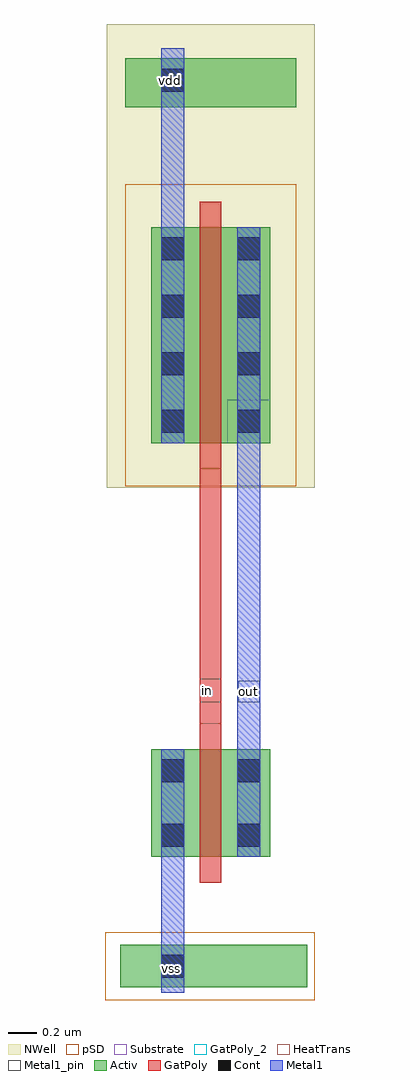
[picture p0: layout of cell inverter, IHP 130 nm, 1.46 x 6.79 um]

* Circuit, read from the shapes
.subckt inverter in out vdd vss
XM1 out in vss vss sg13_lv_nmos w=0.75u l=0.15u
XM2 out in vdd vdd sg13_lv_pmos w=1.5u l=0.15u
.ends

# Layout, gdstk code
import gdstk
lib = gdstk.Library(unit=1e-6, precision=5e-09)
def R(c, l, rs):  # rectangles x0, y0, x1, y1
    for r in rs: c.add(gdstk.rectangle(r[:2], r[2:], *l))
def A(c, l, x, y, w, h, nx, ny, dx, dy):  # array of equal rectangles
    R(c, l, [(x+i*dx, y+j*dy, x+i*dx+w, y+j*dy+h) for i in range(nx) for j in range(ny)])
Activ = (1, 0)
GatPoly = (5, 0)
GatPoly_2 = (5, 2)
Cont = (6, 0)
Metal1 = (8, 0)
Metal1_pin = (8, 2)
pSD = (14, 0)
NWell = (31, 0)
Substrate = (40, 0)
HeatTrans = (51, 0)

nmos = lib.new_cell('nmos')
R(nmos, Activ, [(0,0,0.3,0.3), (0,0,0.83,0.75), (0.53,0,0.83,0.3)])
R(nmos, GatPoly, [(0.34,-0.18,0.49,0.93)])
R(nmos, GatPoly_2, [(0.34,-0.18,0.49,0.93)])
R(nmos, Cont, [(0.07,0.07,0.23,0.23), (0.6,0.07,0.76,0.23), (0.07,0.52,0.23,0.68), (0.6,0.52,0.76,0.68)])
R(nmos, Metal1, [(0.07,0,0.23,0.75), (0.6,0,0.76,0.75)])
R(nmos, Metal1_pin, [(0.07,0,0.23,0.75), (0.6,0,0.76,0.75)])
R(nmos, HeatTrans, [(0.34,-0.18,0.49,0.93)])
nmos.add(gdstk.Label('nmos', (0.415,0.375), layer=63, texttype=0))
nmos.add(gdstk.Label('nmos', (0.415,0.375), layer=51, texttype=0))

pmos_1 = lib.new_cell('pmos$1')
R(pmos_1, Activ, [(0,0,0.3,0.3), (0,0,0.83,1.5), (0.53,0,0.83,0.3)])
R(pmos_1, GatPoly, [(0.34,-0.18,0.49,1.68), (0.34,-0.18,0.49,1.68)])
A(pmos_1, Cont, 0.07, 0.07, 0.16, 0.16, 1, 4, 0, 0.4)
A(pmos_1, Cont, 0.6, 0.07, 0.16, 0.16, 1, 4, 0, 0.4)
R(pmos_1, Metal1, [(0.07,0,0.23,1.5), (0.07,0,0.23,1.5), (0.6,0,0.76,1.5), (0.6,0,0.76,1.5)])
R(pmos_1, pSD, [(-0.18,-0.3,1.01,1.8)])
R(pmos_1, NWell, [(-0.31,-0.31,1.14,1.81)])
R(pmos_1, Substrate, [(0.53,0,0.83,0.3)])
R(pmos_1, HeatTrans, [(0.34,-0.18,0.49,1.68)])
pmos_1.add(gdstk.Label('pmos', (0.415,0.75), layer=63, texttype=0))
pmos_1.add(gdstk.Label('pmos', (0.415,0.75), layer=51, texttype=0))

inverter = lib.new_cell('inverter')
R(inverter, Activ, [(1.335,-3.135,2.635,-2.84), (1.37,2.985,2.56,3.325)])
R(inverter, GatPoly, [(1.89,-1.3,2.04,0.55)])
R(inverter, GatPoly_2, [(1.89,-1.155,2.04,-0.99)])
R(inverter, Cont, [(1.62,-3.07,1.78,-2.91), (1.62,1.92,1.78,2.08), (1.62,3.095,1.78,3.255)])
R(inverter, Metal1, [(1.62,-3.175,1.78,-2.23), (2.15,-1.48,2.31,0.72), (1.62,2.15,1.78,3.395)])
R(inverter, Metal1_pin, [(1.62,-3.07,1.78,-2.91), (2.155,-1.155,2.305,-1.005), (1.62,3.095,1.78,3.255)])
R(inverter, pSD, [(1.23,-3.225,2.69,-2.755)])
R(inverter, NWell, [(1.24,2.46,2.69,3.565)])
inverter.add(gdstk.Reference(nmos, (1.55,-2.23)))
inverter.add(gdstk.Reference(pmos_1, (1.55,0.65)))
inverter.add(gdstk.Label('out', (2.23,-1.08), layer=8, texttype=2))
inverter.add(gdstk.Label('vdd', (1.685,3.17), layer=8, texttype=2))
inverter.add(gdstk.Label('vss', (1.69,-3.005), layer=8, texttype=2))
inverter.add(gdstk.Label('in', (1.94,-1.07), layer=5, texttype=2))

lib.write_gds('inverter.gds')
